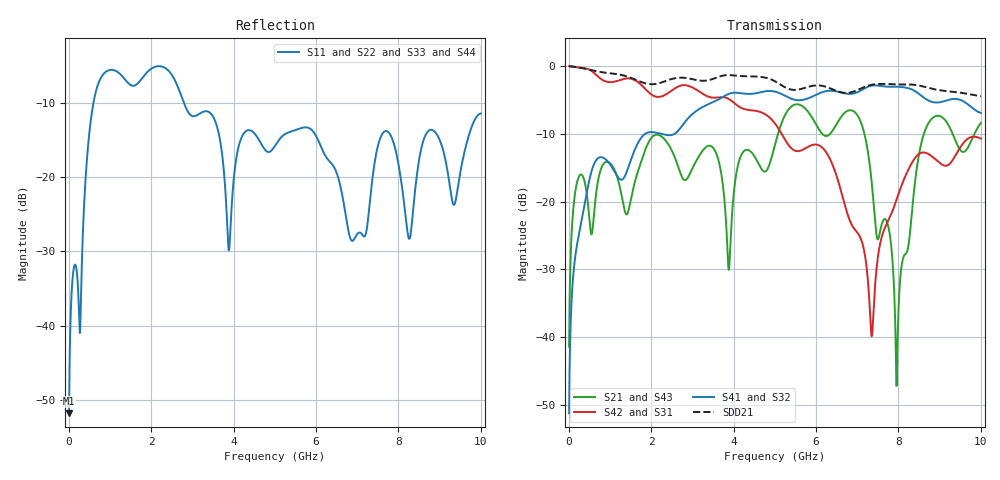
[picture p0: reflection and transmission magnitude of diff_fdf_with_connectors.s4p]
! Created with skrf (http://scikit-rf.org).
# GHz S RI R 50.0
!freq ReS11 ImS11 ReS12 ImS12 ReS13 ImS13
! ReS14 ImS14
! ReS21 ImS21 ReS22 ImS22 ReS23 ImS23
! ReS24 ImS24
! ReS31 ImS31 ReS32 ImS32 ReS33 ImS33
! ReS34 ImS34
! ReS41 ImS41 ReS42 ImS42 ReS43 ImS43
! ReS44 ImS44
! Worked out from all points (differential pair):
!   1000 points, 10 MHz to 10 GHz, reference 50 ohm
!   strongest paths, dB at 10 MHz, 2.51 GHz, 5.01 GHz, 7.51 GHz, 10 GHz:
!     S41: -51.3, -10.2, -3.8, -2.9, -6.9
!     S32: -51.3, -10.2, -3.8, -2.9, -6.9
!     S42: 0.0, -3.6, -8.5, -27.8, -10.7
!     S31: 0.0, -3.6, -8.5, -27.8, -10.7
!     S21: -41.5, -12.6, -11.5, -25.5, -8.4
!     S43: -41.5, -12.6, -11.5, -25.5, -8.4
!   taken as a pair (ports 2,1 in; 4,3 out), SDD21 dB: 0.0, -1.9, -2.3, -2.6, -4.5
!   lowest |S11| = -51.8 dB at 10 MHz (marker M1), VSWR 1.01, Z = 50 + j0.256 ohm
!   |S11| at or under -10 dB: start of sweep to 601.6 MHz; 2.792 GHz to end of sweep
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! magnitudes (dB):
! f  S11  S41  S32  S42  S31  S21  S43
! 10 MHz  -51.8  -51.3  -51.3  0.0  0.0  -41.5  -41.5
! 920 MHz  -5.8  -13.9  -13.9  -2.3  -2.3  -14.1  -14.1
! 3.88 GHz  -29.8  -4.1  -4.1  -4.8  -4.8  -30.1  -30.1
! 6.91 GHz  -28.5  -4.0  -4.0  -23.9  -23.9  -6.7  -6.7
! 7.96 GHz  -17.1  -3.0  -3.0  -19.6  -19.6  -47.1  -47.1
! 8.65 GHz  -14.5  -4.8  -4.8  -12.8  -12.8  -9.4  -9.4
! 10 GHz  -11.5  -6.9  -6.9  -10.7  -10.7  -8.4  -8.4
